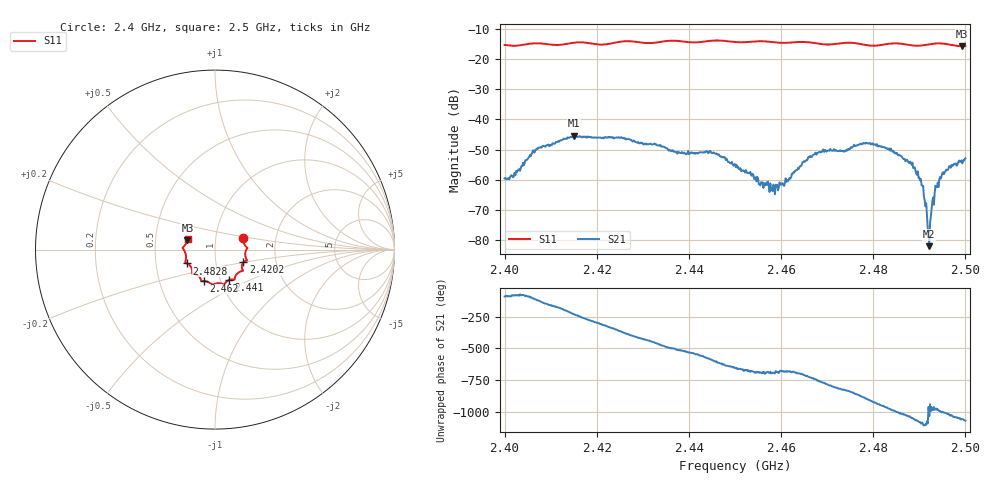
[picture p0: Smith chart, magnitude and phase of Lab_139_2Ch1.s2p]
# Hz S RI R 50
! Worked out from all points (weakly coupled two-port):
!   601 points, 2.4 GHz to 2.5 GHz, reference 50 ohm
!   highest |S21| = -45.41 dB at 2.415 GHz (marker M1); lowest = -81.9 dB at 2.4922 GHz (marker M2)
!   lowest |S11| = -15.8 dB at 2.4993 GHz (marker M3), VSWR 1.39, Z = 36.5 + j3.87 ohm
!   |S11| at or under -10 dB: start of sweep to end of sweep
!   S12 and S22 are empty: the file has one direction only
!   S11 on the Smith chart (normalised r, x): 2.4 GHz: 1.36, +0.18; 2.4202 GHz: 1.36, -0.20; 2.441 GHz: 1.10, -0.39; 2.462 GHz: 0.84, -0.30; 2.4828 GHz: 0.72, -0.11; 2.5 GHz: 0.73, +0.09
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2.4e9  0.1581 0.0624  -2.57e-05 -0.00106  0 0  0 0
2.407167e9  0.1807 0.00936  -0.00171 -0.00276  0 0  0 0
2.415e9  0.1762 -0.0559  -0.00334 0.0042  0 0  0 0
2.416667e9  0.1776 -0.0605  -0.00125 0.00501  0 0  0 0
2.420167e9  0.1582 -0.0712  0.00255 0.00435  0 0  0 0
2.433333e9  0.112 -0.1512  -0.00103 -0.00356  0 0  0 0
2.441e9  0.0783 -0.1698  -0.00275 -2.7e-05  0 0  0 0
2.45e9  0.0284 -0.1876  0.00075 0.00166  0 0  0 0
2.458333e9  -0.0274 -0.187  0.000738 0.000397  0 0  0 0
2.462e9  -0.0604 -0.1758  0.000827 0.000642  0 0  0 0
2.466667e9  -0.0785 -0.1681  0.00231 -0.000643  0 0  0 0
2.478167e9  -0.1275 -0.1135  -0.00399 -0.000708  0 0  0 0
2.482833e9  -0.1574 -0.0771  -0.00141 0.00305  0 0  0 0
2.483333e9  -0.1606 -0.0757  -0.000785 0.00309  0 0  0 0
2.4895e9  -0.162 -0.0301  0.0012 0.000206  0 0  0 0
2.4905e9  -0.1655 -0.017  0.000808 -8.96e-05  0 0  0 0
2.491667e9  -0.1717 -0.00472  0.000251 2.14e-05  0 0  0 0
2.492167e9  -0.1745 -0.000478  5.64e-05 5.75e-05  0 0  0 0
2.493333e9  -0.1794 0.00601  -4.89e-05 0.000607  0 0  0 0
2.494833e9  -0.1794 0.0117  0.000301 0.00114  0 0  0 0
2.499333e9  -0.1538 0.0516  0.00175 0.000659  0 0  0 0
2.5e9  -0.1521 0.061  0.00225 0.000339  0 0  0 0
